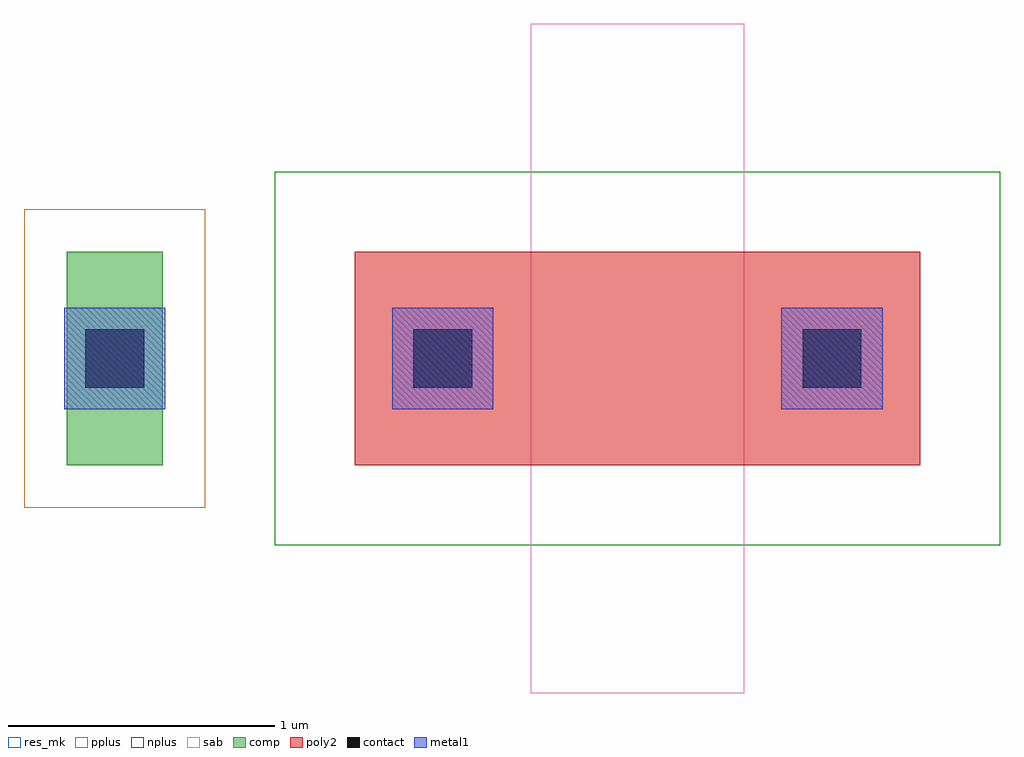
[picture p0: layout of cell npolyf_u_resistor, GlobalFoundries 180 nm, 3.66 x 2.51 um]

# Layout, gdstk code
import gdstk
lib = gdstk.Library(unit=1e-6, precision=1e-09)
def R(c, l, rs):  # rectangles x0, y0, x1, y1
    for r in rs: c.add(gdstk.rectangle(r[:2], r[2:], *l))
comp = (22, 0)
poly2 = (30, 0)
pplus = (31, 0)
nplus = (32, 0)
contact = (33, 0)
metal1 = (34, 0)
sab = (49, 0)
res_mk = (110, 5)

npolyf_u_resistor = lib.new_cell('npolyf_u_resistor')
R(npolyf_u_resistor, comp, [(-1.74,0,-1.38,0.8)])
R(npolyf_u_resistor, poly2, [(-0.66,0,1.46,0.8)])
R(npolyf_u_resistor, pplus, [(-1.9,-0.16,-1.22,0.96)])
R(npolyf_u_resistor, nplus, [(-0.96,-0.3,1.76,1.1)])
R(npolyf_u_resistor, contact, [(-1.67,0.29,-1.45,0.51), (-0.44,0.29,-0.22,0.51), (1.02,0.29,1.24,0.51)])
R(npolyf_u_resistor, metal1, [(-1.75,0.21,-1.37,0.59), (-0.52,0.21,-0.14,0.59), (0.94,0.21,1.32,0.59)])
R(npolyf_u_resistor, sab, [(0,-0.855,0.8,1.655)])
R(npolyf_u_resistor, res_mk, [(0,0,0.8,0.8)])

lib.write_gds('npolyf_u_resistor.gds')
